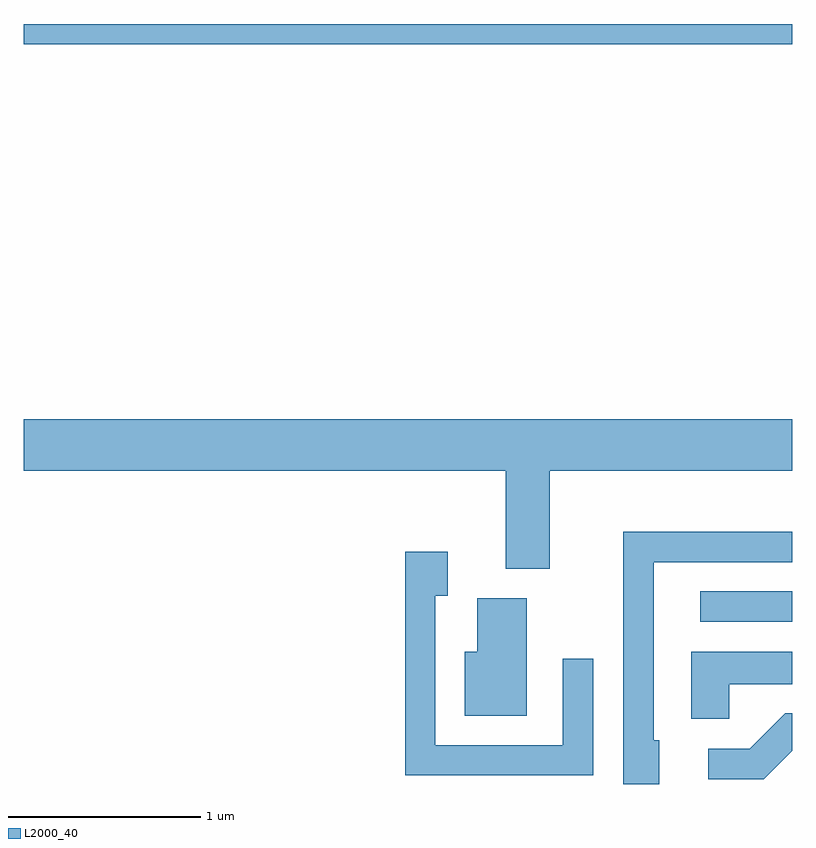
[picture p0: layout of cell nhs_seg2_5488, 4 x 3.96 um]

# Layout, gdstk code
import gdstk
lib = gdstk.Library(unit=1e-6, precision=1e-09)
def R(c, l, rs):  # rectangles x0, y0, x1, y1
    for r in rs: c.add(gdstk.rectangle(r[:2], r[2:], *l))
def P(c, l, *ps):  # polygons
    for p in ps: c.add(gdstk.Polygon(p, *l))
L2000_40 = (2000, 40)

nhs_seg2_5488 = lib.new_cell('nhs_seg2_5488')
R(nhs_seg2_5488, L2000_40, [(351.133,998.691,351.611,998.849), (347.611,1001.696,351.611,1001.802)])
P(nhs_seg2_5488, L2000_40, [(350.349,999.476),(351.611,999.476),(351.611,999.744),(347.611,999.744),(347.611,999.476),(350.121,999.476),(350.121,998.966),(350.349,998.966)],
  [(350.919,998.074),(350.889,998.074),(350.889,999.001),(351.611,999.001),(351.611,999.159),(350.731,999.159),(350.731,997.846),(350.919,997.846)],
  [(350.574,998.498),(350.416,998.498),(350.416,998.049),(349.754,998.049),(349.754,998.826),(349.819,998.826),(349.819,999.054),(349.596,999.054),(349.596,997.891),(350.574,997.891)],
  [(350.229,998.814),(349.971,998.814),(349.971,998.534),(349.906,998.534),(349.906,998.201),(350.229,998.201)],
  [(351.284,998.366),(351.611,998.366),(351.611,998.534),(351.086,998.534),(351.086,998.186),(351.284,998.186)],
  [(351.611,998.02),(351.611,998.214),(351.574,998.214),(351.389,998.029),(351.173,998.029),(351.173,997.871),(351.462,997.871)])

lib.write_gds('nhs_seg2_5488.gds')
